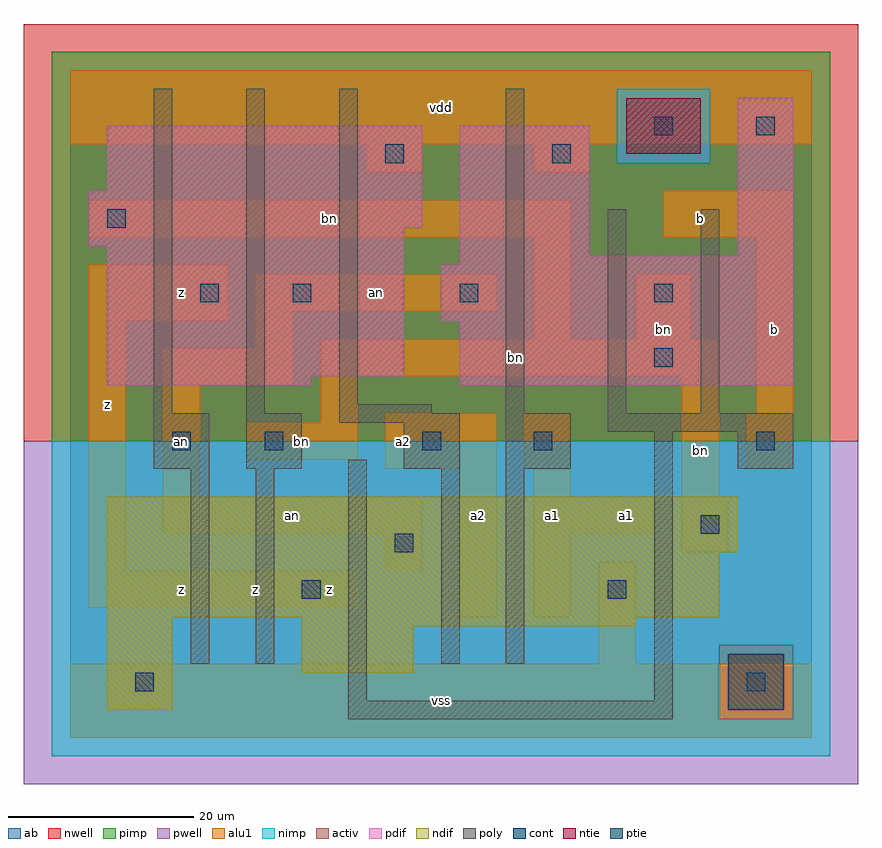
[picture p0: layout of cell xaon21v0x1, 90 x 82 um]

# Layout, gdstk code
import gdstk
lib = gdstk.Library(unit=1e-6, precision=1e-09)
def R(c, l, rs):  # rectangles x0, y0, x1, y1
    for r in rs: c.add(gdstk.rectangle(r[:2], r[2:], *l))
ndif = (3, 0)
pdif = (4, 0)
ntie = (5, 0)
ptie = (6, 0)
cont = (25, 0)
pwell = (41, 0)
nwell = (42, 0)
activ = (43, 0)
pimp = (44, 0)
nimp = (45, 0)
poly = (46, 0)
alu1 = (49, 0)
ab = (63, 0)

xaon21v0x1 = lib.new_cell('xaon21v0x1')
R(xaon21v0x1, ndif, [(4,3,11,13), (25,7,37,12), (25,12,61,13), (4,13,70,20), (4,20,72,26)])
R(xaon21v0x1, pdif, [(4,38,26,39), (42,38,78,45), (4,39,36,53), (40,45,78,51), (42,51,78,52), (42,52,56,66), (72,52,78,69), (2,53,36,55), (2,55,38,59), (4,59,38,66)])
R(xaon21v0x1, ntie, [(60,63,68,69)])
R(xaon21v0x1, ptie, [(71,3,77,9)])
R(xaon21v0x1, cont, [(7,5,9,7), (73,5,75,7), (25,15,27,17), (58,15,60,17), (35,20,37,22), (68,22,70,24), (11,31,13,33), (21,31,23,33), (38,31,40,33), (50,31,52,33), (74,31,76,33), (63,40,65,42), (14,47,16,49), (24,47,26,49), (42,47,44,49), (63,47,65,49), (4,55,6,57), (34,62,36,64), (52,62,54,64), (63,65,65,67), (74,65,76,67)])
R(xaon21v0x1, pwell, [(-5,-5,85,32)])
R(xaon21v0x1, nwell, [(-5,32,85,77)])
R(xaon21v0x1, activ, [(4,3,11,13), (71,3,77,9), (25,7,37,12), (25,12,61,13), (4,13,70,20), (4,20,72,26), (4,38,26,39), (42,38,78,45), (4,39,36,53), (40,45,78,51), (42,51,78,52), (42,52,56,66), (72,52,78,69), (2,53,36,55), (2,55,38,59), (4,59,38,66), (60,63,68,69)])
R(xaon21v0x1, pimp, [(70,2,78,10), (-2,32,82,62), (-2,62,59,70), (69,62,82,70), (-2,70,82,74)])
R(xaon21v0x1, nimp, [(-2,-2,82,2), (-2,2,70,10), (78,2,82,10), (-2,10,82,32), (59,62,69,70)])
R(xaon21v0x1, poly, [(30,2,65,4), (30,4,32,30), (63,4,65,33), (13,8,15,29), (20,8,22,29), (40,8,42,29), (47,8,49,29), (9,29,15,35), (19,29,25,35), (36,29,42,34), (47,29,54,35), (72,29,78,33), (58,33,78,35), (29,34,42,35), (9,35,11,70), (19,35,21,70), (29,35,39,36), (47,35,49,70), (58,35,60,57), (68,35,70,57), (29,36,31,70)])
R(xaon21v0x1, alu1, [(0,0,80,8), (57,8,61,19), (42,13,46,29), (50,13,54,22), (2,14,31,18), (2,18,6,45), (34,18,38,22), (66,20,71,26), (10,22,38,26), (50,22,63,26), (10,26,14,38), (50,26,54,29), (66,26,70,39), (34,29,46,35), (49,29,54,35), (73,29,78,35), (19,30,31,34), (27,34,31,39), (74,35,78,54), (10,38,24,42), (27,39,70,43), (20,42,24,46), (50,43,54,54), (61,43,67,50), (2,45,17,51), (20,46,46,50), (2,54,54,58), (64,54,78,59), (32,61,38,64), (50,61,56,64), (0,64,80,72)])
R(xaon21v0x1, ab, [(0,0,80,72)])
xaon21v0x1.add(gdstk.Label('an', (12,32), layer=49, texttype=0))
xaon21v0x1.add(gdstk.Label('bn', (25,32), layer=49, texttype=0))
xaon21v0x1.add(gdstk.Label('an', (24,24), layer=49, texttype=0))
xaon21v0x1.add(gdstk.Label('an', (33,48), layer=49, texttype=0))
xaon21v0x1.add(gdstk.Label('bn', (28,56), layer=49, texttype=0))
xaon21v0x1.add(gdstk.Label('bn', (68,31), layer=49, texttype=0))
xaon21v0x1.add(gdstk.Label('bn', (48,41), layer=49, texttype=0))
xaon21v0x1.add(gdstk.Label('bn', (64,44), layer=49, texttype=0))
xaon21v0x1.add(gdstk.Label('z', (12,16), layer=49, texttype=0))
xaon21v0x1.add(gdstk.Label('z', (4,36), layer=49, texttype=0))
xaon21v0x1.add(gdstk.Label('z', (12,48), layer=49, texttype=0))
xaon21v0x1.add(gdstk.Label('z', (28,16), layer=49, texttype=0))
xaon21v0x1.add(gdstk.Label('z', (20,16), layer=49, texttype=0))
xaon21v0x1.add(gdstk.Label('a2', (36,32), layer=49, texttype=0))
xaon21v0x1.add(gdstk.Label('vss', (40,4), layer=49, texttype=0))
xaon21v0x1.add(gdstk.Label('a2', (44,24), layer=49, texttype=0))
xaon21v0x1.add(gdstk.Label('a1', (52,24), layer=49, texttype=0))
xaon21v0x1.add(gdstk.Label('vdd', (40,68), layer=49, texttype=0))
xaon21v0x1.add(gdstk.Label('a1', (60,24), layer=49, texttype=0))
xaon21v0x1.add(gdstk.Label('b', (76,44), layer=49, texttype=0))
xaon21v0x1.add(gdstk.Label('b', (68,56), layer=49, texttype=0))

lib.write_gds('xaon21v0x1.gds')
